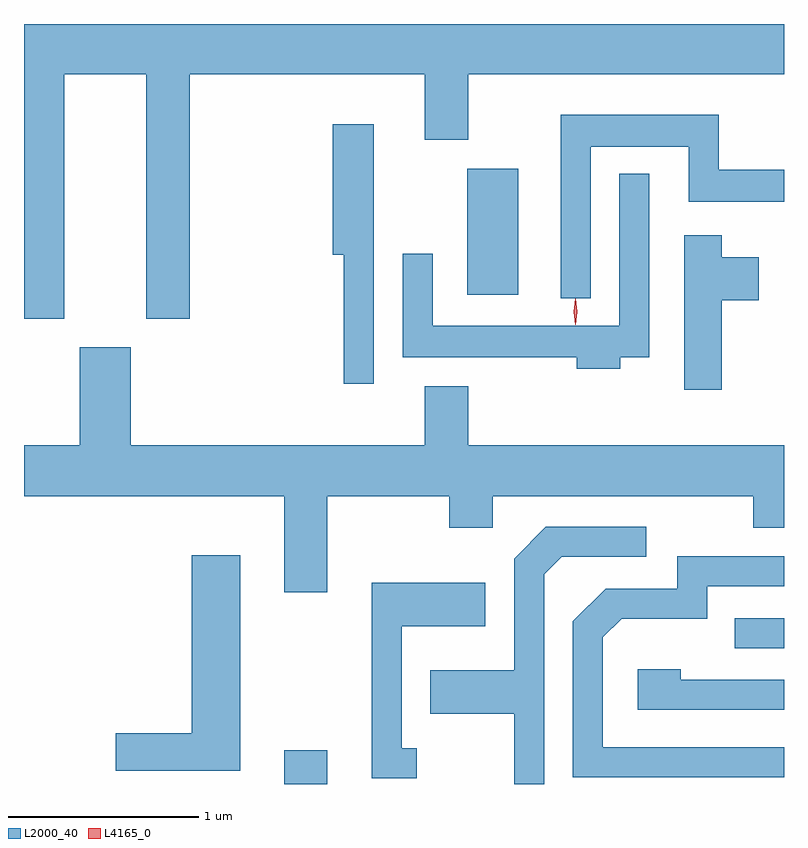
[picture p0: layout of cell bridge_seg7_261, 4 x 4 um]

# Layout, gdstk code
import gdstk
lib = gdstk.Library(unit=1e-6, precision=1e-09)
def R(c, l, rs):  # rectangles x0, y0, x1, y1
    for r in rs: c.add(gdstk.rectangle(r[:2], r[2:], *l))
def P(c, l, *ps):  # polygons
    for p in ps: c.add(gdstk.Polygon(p, *l))
L2000_40 = (2000, 40)
L4165_0 = (4165, 0)

bridge_seg7_261 = lib.new_cell('bridge_seg7_261')
R(bridge_seg7_261, L2000_40, [(1398.671,1799.381,1398.899,1799.559), (1401.043,1800.096,1401.302,1800.254), (1399.636,1801.956,1399.904,1802.619)])
P(bridge_seg7_261, L2000_40, [(1397.514,1803.116),(1397.946,1803.116),(1397.946,1801.831),(1398.174,1801.831),(1398.174,1803.116),(1399.411,1803.116),(1399.411,1802.771),(1399.639,1802.771),(1399.639,1803.116),(1401.302,1803.116),(1401.302,1803.381),(1397.302,1803.381),(1397.302,1801.831),(1397.514,1801.831)],
  [(1400.284,1802.736),(1400.801,1802.736),(1400.801,1802.446),(1401.302,1802.446),(1401.302,1802.614),(1400.959,1802.614),(1400.959,1802.904),(1400.126,1802.904),(1400.126,1801.938),(1400.284,1801.938)],
  [(1399.144,1802.854),(1398.926,1802.854),(1398.926,1802.166),(1398.986,1802.166),(1398.986,1801.488),(1399.144,1801.488)],
  [(1400.439,1801.626),(1400.594,1801.626),(1400.594,1802.593),(1400.436,1802.593),(1400.436,1801.794),(1399.454,1801.794),(1399.454,1802.173),(1399.296,1802.173),(1399.296,1801.626),(1400.211,1801.626),(1400.211,1801.566),(1400.439,1801.566)],
  [(1400.974,1801.926),(1401.169,1801.926),(1401.169,1802.154),(1400.974,1802.154),(1400.974,1802.269),(1400.776,1802.269),(1400.776,1801.456),(1400.974,1801.456)],
  [(1398.899,1800.896),(1399.541,1800.896),(1399.541,1800.731),(1399.769,1800.731),(1399.769,1800.896),(1401.141,1800.896),(1401.141,1800.731),(1401.302,1800.731),(1401.302,1801.164),(1399.639,1801.164),(1399.639,1801.474),(1399.411,1801.474),(1399.411,1801.164),(1397.864,1801.164),(1397.864,1801.679),(1397.596,1801.679),(1397.596,1801.164),(1397.302,1801.164),(1397.302,1800.896),(1398.671,1800.896),(1398.671,1800.391),(1398.899,1800.391)],
  [(1400.039,1800.484),(1400.132,1800.576),(1400.578,1800.576),(1400.578,1800.734),(1400.049,1800.734),(1399.881,1800.567),(1399.881,1799.979),(1399.441,1799.979),(1399.441,1799.751),(1399.881,1799.751),(1399.881,1799.381),(1400.039,1799.381)],
  [(1398.439,1800.584),(1398.186,1800.584),(1398.186,1799.649),(1397.786,1799.649),(1397.786,1799.451),(1398.439,1799.451)],
  [(1401.302,1799.574),(1400.349,1799.574),(1400.349,1800.154),(1400.447,1800.251),(1400.899,1800.251),(1400.899,1800.421),(1401.302,1800.421),(1401.302,1800.579),(1400.741,1800.579),(1400.741,1800.409),(1400.364,1800.409),(1400.191,1800.237),(1400.191,1799.416),(1401.302,1799.416)],
  [(1399.368,1799.569),(1399.289,1799.569),(1399.289,1800.211),(1399.729,1800.211),(1399.729,1800.439),(1399.131,1800.439),(1399.131,1799.411),(1399.368,1799.411)],
  [(1401.302,1799.929),(1400.759,1799.929),(1400.759,1799.984),(1400.531,1799.984),(1400.531,1799.771),(1401.302,1799.771)])
P(bridge_seg7_261, L4165_0, [(1400.205,1801.799),(1400.204,1801.8),(1400.195,1801.866),(1400.204,1801.932),(1400.205,1801.933),(1400.205,1801.932),(1400.215,1801.866),(1400.205,1801.8)],
  [(1400.205,1801.797),(1400.204,1801.798),(1400.195,1801.866),(1400.204,1801.936),(1400.205,1801.936),(1400.205,1801.936),(1400.215,1801.866),(1400.205,1801.798)])

lib.write_gds('bridge_seg7_261.gds')
